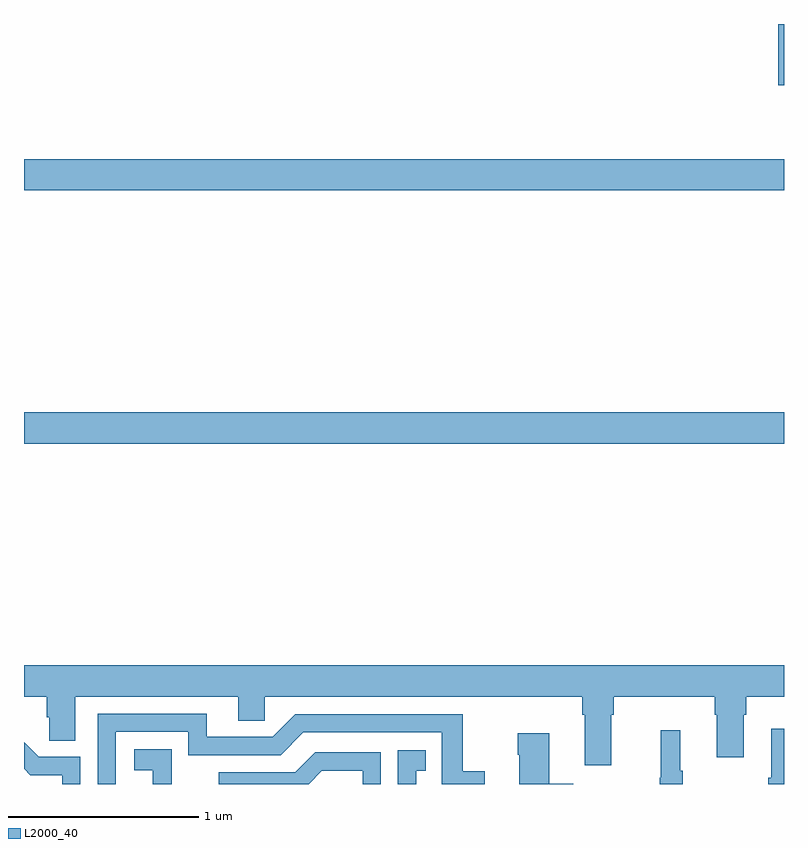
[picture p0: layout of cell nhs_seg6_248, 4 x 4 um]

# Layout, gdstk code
import gdstk
lib = gdstk.Library(unit=1e-6, precision=1e-09)
def R(c, l, rs):  # rectangles x0, y0, x1, y1
    for r in rs: c.add(gdstk.rectangle(r[:2], r[2:], *l))
def P(c, l, *ps):  # polygons
    for p in ps: c.add(gdstk.Polygon(p, *l))
L2000_40 = (2000, 40)

nhs_seg6_248 = lib.new_cell('nhs_seg6_248')
R(nhs_seg6_248, L2000_40, [(123,991.292,127,991.456), (123,992.624,127,992.788), (126.971,993.177,127,993.5)])
P(nhs_seg6_248, L2000_40, [(126.091,989.864),(126.104,989.864),(126.104,989.96),(126.635,989.96),(126.635,989.864),(126.647,989.864),(126.647,989.64),(126.787,989.64),(126.787,989.864),(126.8,989.864),(126.8,989.96),(127,989.96),(127,990.124),(123,990.124),(123,989.96),(123.119,989.96),(123.119,989.851),(123.132,989.851),(123.132,989.728),(123.271,989.728),(123.271,989.96),(124.127,989.96),(124.127,989.833),(124.266,989.833),(124.266,989.96),(125.939,989.96),(125.939,989.864),(125.951,989.864),(125.951,989.598),(126.091,989.598)],
  [(123.483,989.775),(123.864,989.775),(123.864,989.652),(124.35,989.652),(124.47,989.772),(125.199,989.772),(125.199,989.5),(125.426,989.5),(125.426,989.566),(125.308,989.566),(125.308,989.868),(124.428,989.868),(124.308,989.748),(123.961,989.748),(123.961,989.871),(123.387,989.871),(123.387,989.5),(123.483,989.5)],
  [(127,989.791),(126.932,989.791),(126.932,989.533),(126.917,989.533),(126.917,989.5),(127,989.5)],
  [(126.466,989.569),(126.455,989.569),(126.455,989.782),(126.352,989.782),(126.352,989.532),(126.345,989.532),(126.345,989.5),(126.466,989.5)],
  [(125.891,989.501),(125.764,989.501),(125.764,989.767),(125.599,989.767),(125.599,989.654),(125.606,989.654),(125.606,989.5),(125.891,989.5)],
  [(123.297,989.643),(123.078,989.643),(123,989.721),(123,989.579),(123.032,989.547),(123.201,989.547),(123.201,989.5),(123.297,989.5)],
  [(123.777,989.683),(123.579,989.683),(123.579,989.573),(123.677,989.573),(123.677,989.5),(123.777,989.5)],
  [(125.065,989.571),(125.114,989.571),(125.114,989.677),(124.968,989.677),(124.968,989.5),(125.065,989.5)],
  [(124.568,989.57),(124.782,989.57),(124.782,989.5),(124.878,989.5),(124.878,989.667),(124.532,989.667),(124.427,989.562),(124.024,989.562),(124.024,989.5),(124.498,989.5)])

lib.write_gds('nhs_seg6_248.gds')
